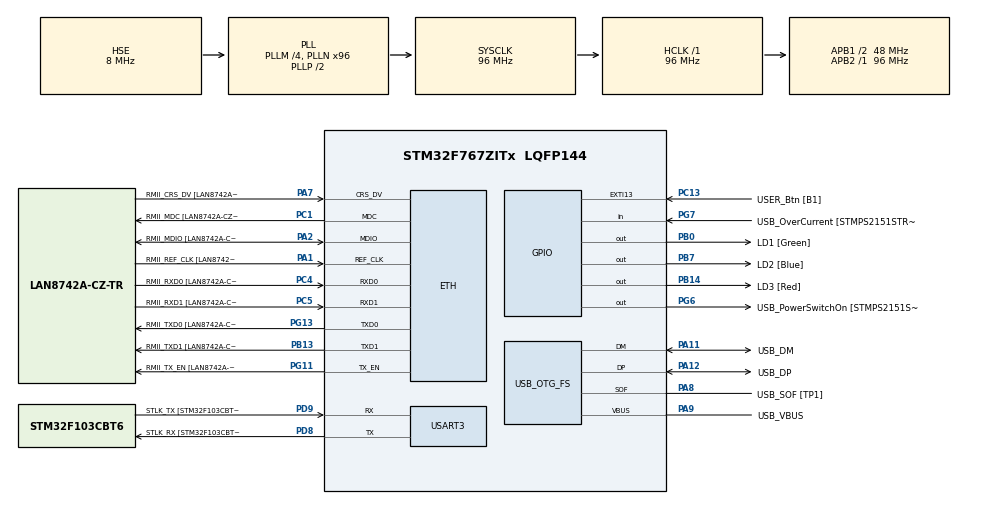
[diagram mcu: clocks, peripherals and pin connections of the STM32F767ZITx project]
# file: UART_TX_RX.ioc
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ETH.MediaInterface=HAL_ETH_RMII_MODE
ETH.PHY_Name=LAN8742A_PHY_ADDRESS
ETH.PHY_Value=0
ETH.PhyAddress=0
Mcu.Family=STM32F7
Mcu.Name=STM32F767ZITx
Mcu.Package=LQFP144
NVIC.PriorityGroup=NVIC_PRIORITYGROUP_4
NVIC.USART3_IRQn=true\:0\:0\:false\:false\:true\:true\:true\:true
PA1.GPIO_Label=RMII_REF_CLK [LAN8742A-CZ-TR_REFCLK0]
PA1.Mode=RMII
PA1.Signal=ETH_REF_CLK
PA10.GPIO_Label=USB_ID
PA10.Signal=USB_OTG_FS_ID
PA11.GPIO_Label=USB_DM
PA11.Mode=Device_Only
PA11.Signal=USB_OTG_FS_DM
PA12.GPIO_Label=USB_DP
PA12.Mode=Device_Only
PA12.Signal=USB_OTG_FS_DP
PA13.GPIO_Label=TMS
PA13.Mode=Serial_Wire
PA13.Signal=SYS_JTMS-SWDIO
PA14.GPIO_Label=TCK
PA14.Mode=Serial_Wire
PA14.Signal=SYS_JTCK-SWCLK
PA2.GPIO_Label=RMII_MDIO [LAN8742A-CZ-TR_MDIO]
PA2.Mode=RMII
PA2.Signal=ETH_MDIO
PA7.GPIO_Label=RMII_CRS_DV [LAN8742A-CZ-TR_CRS_DV]
PA7.Mode=RMII
PA7.Signal=ETH_CRS_DV
PA8.GPIO_Label=USB_SOF [TP1]
PA8.Mode=Activate_SOF_FS
PA8.Signal=USB_OTG_FS_SOF
PA9.GPIO_Label=USB_VBUS
PA9.Mode=Activate_VBUS
PA9.Signal=USB_OTG_FS_VBUS
PB0.GPIO_Label=LD1 [Green]
PB0.Signal=GPIO_Output
PB13.GPIO_Label=RMII_TXD1 [LAN8742A-CZ-TR_TXD1]
PB13.Mode=RMII
PB13.Signal=ETH_TXD1
PB14.GPIO_Label=LD3 [Red]
PB14.Signal=GPIO_Output
PB3.GPIO_Label=SWO
PB3.Signal=SYS_JTDO-SWO
PB7.GPIO_Label=LD2 [Blue]
PB7.Signal=GPIO_Output
PC1.GPIO_Label=RMII_MDC [LAN8742A-CZ-TR_MDC]
PC1.Mode=RMII
PC1.Signal=ETH_MDC
PC13.GPIO_Label=USER_Btn [B1]
PC13.Signal=GPXTI13
PC14/OSC32_IN.Mode=LSE-External-Oscillator
PC14/OSC32_IN.Signal=RCC_OSC32_IN
PC15/OSC32_OUT.Mode=LSE-External-Oscillator
PC15/OSC32_OUT.Signal=RCC_OSC32_OUT
PC4.GPIO_Label=RMII_RXD0 [LAN8742A-CZ-TR_RXD0]
PC4.Mode=RMII
PC4.Signal=ETH_RXD0
PC5.GPIO_Label=RMII_RXD1 [LAN8742A-CZ-TR_RXD1]
PC5.Mode=RMII
PC5.Signal=ETH_RXD1
PD8.GPIO_Label=STLK_RX [STM32F103CBT6_PA3]
PD8.Mode=Asynchronous
PD8.Signal=USART3_TX
PD9.GPIO_Label=STLK_TX [STM32F103CBT6_PA2]
PD9.Mode=Asynchronous
PD9.Signal=USART3_RX
PG11.GPIO_Label=RMII_TX_EN [LAN8742A-CZ-TR_TXEN]
PG11.Mode=RMII
PG11.Signal=ETH_TX_EN
PG13.GPIO_Label=RMII_TXD0 [LAN8742A-CZ-TR_TXD0]
PG13.Mode=RMII
PG13.Signal=ETH_TXD0
PG6.GPIO_Label=USB_PowerSwitchOn [STMPS2151STR_EN]
PG6.Signal=GPIO_Output
PG7.GPIO_Label=USB_OverCurrent [STMPS2151STR_FAULT]
PG7.Signal=GPIO_Input
PH0/OSC_IN.GPIO_Label=MCO [STM32F103CBT6_PA8]
PH0/OSC_IN.Mode=HSE-External-Clock-Source
PH0/OSC_IN.Signal=RCC_OSC_IN
PH1/OSC_OUT.Mode=HSE-External-Clock-Source
PH1/OSC_OUT.Signal=RCC_OSC_OUT
ProjectManager.HeapSize=0x200
ProjectManager.StackSize=0x400
ProjectManager.TargetToolchain=STM32CubeIDE
RCC.48MHZClocksFreq_Value=24000000
RCC.AHBFreq_Value=96000000
RCC.APB1CLKDivider=RCC_HCLK_DIV2
RCC.APB1Freq_Value=48000000
RCC.APB1TimFreq_Value=96000000
RCC.APB2Freq_Value=96000000
RCC.APB2TimFreq_Value=96000000
RCC.CortexFreq_Value=96000000
RCC.HCLKFreq_Value=96000000
RCC.HSE_VALUE=8000000
RCC.HSI_VALUE=16000000
RCC.PLLM=4
RCC.PLLMUL=RCC_PLL_MUL9
RCC.PLLN=96
RCC.PLLQ=4
RCC.PRESCALERUSB=RCC_USBCLKSOURCE_PLL_DIV1_5
RCC.SYSCLKFreq_VALUE=96000000
RCC.SYSCLKSource=RCC_SYSCLKSOURCE_PLLCLK
RCC.SYSCLKSourceVirtual=RCC_SYSCLKSOURCE_PLLCLK
RCC.USBFreq_Value=48000000
RCC.VCOOutputFreq_Value=192000000
USART3.VirtualMode-Asynchronous=VM_ASYNC
USB_OTG_FS.VirtualMode=Device_Only
board=NUCLEO-F767ZI

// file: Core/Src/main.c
/* USER CODE BEGIN Header */
/**
 ******************************************************************************
 * @file           : main.c
 * @brief          : Main program body
 ******************************************************************************
 * @attention
 *
 * Copyright (c) 2025 STMicroelectronics.
 * All rights reserved.
 *
 * This software is licensed under terms that can be found in the LICENSE file
 * in the root directory of this software component.
 * If no LICENSE file comes with this software, it is provided AS-IS.
 *
 ******************************************************************************
 */
/* USER CODE END Header */
#include "main.h"
#include "string.h"

/* USER CODE BEGIN Includes */
#include "flash_store_data.h"
#include "stdio.h"
#include "stm32f7xx_it.h"

/* USER CODE END Includes */

/* USER CODE BEGIN PD */

/* MCU Used : STM32 F767ZI */

#define FLASH_USER_START_ADDR   ADDR_FLASH_SECTOR_2   /* Start @ of user Flash area */

#define BUFFER_SIZE            1012         // Adjust size as needed, for the given string the buffer is 1012.

char rxBuffer[BUFFER_SIZE];

// Buffer to read back data
char readBuffer[BUFFER_SIZE];
uint8_t rxIndex = 0;
uint8_t dataReceived = 0;

//Global variables for Data rate measurements
volatile uint32_t ByteRxCount = 0;
volatile uint32_t ByteTxCount = 0;
uint32_t startTime = 0;
uint32_t elapsedTime = 0;

// Static variables to track flash writing
static uint32_t flashAddress = FLASH_USER_START_ADDR;
static uint32_t wordBuffer = 0;
static uint8_t byteCount = 0;

/* USER CODE END PD */

#if defined ( __ICCARM__ ) /*!< IAR Compiler */
#pragma location=0x2007c000
ETH_DMADescTypeDef  DMARxDscrTab[ETH_RX_DESC_CNT]; /* Ethernet Rx DMA Descriptors */
#pragma location=0x2007c0a0
ETH_DMADescTypeDef  DMATxDscrTab[ETH_TX_DESC_CNT]; /* Ethernet Tx DMA Descriptors */

#elif defined ( __CC_ARM )  /* MDK ARM Compiler */

__attribute__((at(0x2007c000))) ETH_DMADescTypeDef  DMARxDscrTab[ETH_RX_DESC_CNT]; /* Ethernet Rx DMA Descriptors */
__attribute__((at(0x2007c0a0))) ETH_DMADescTypeDef  DMATxDscrTab[ETH_TX_DESC_CNT]; /* Ethernet Tx DMA Descriptors */

#elif defined ( __GNUC__ ) /* GNU Compiler */

ETH_DMADescTypeDef DMARxDscrTab[ETH_RX_DESC_CNT] __attribute__((section(".RxDecripSection"))); /* Ethernet Rx DMA Descriptors */
ETH_DMADescTypeDef DMATxDscrTab[ETH_TX_DESC_CNT] __attribute__((section(".TxDecripSection")));   /* Ethernet Tx DMA Descriptors */
#endif

ETH_TxPacketConfig TxConfig;

ETH_HandleTypeDef heth;

UART_HandleTypeDef huart3;

PCD_HandleTypeDef hpcd_USB_OTG_FS;

void SystemClock_Config(void);
static void MX_GPIO_Init(void);
static void MX_ETH_Init(void);
static void MX_USART3_UART_Init(void);
static void MX_USB_OTG_FS_PCD_Init(void);
/* USER CODE BEGIN PFP */

void CalculateDataRate(void);
void ReadFlashAndSendData(void);

/* USER CODE END PFP */

int main(void)
{

	/* MCU Configuration--------------------------------------------------------*/

	/* Reset of all peripherals, Initializes the Flash interface and the Systick. */
	HAL_Init();

	/* Configure the system clock */
	SystemClock_Config();

	/* Initialize all configured peripherals */
	MX_GPIO_Init();
	MX_ETH_Init();
	MX_USART3_UART_Init();
	MX_USB_OTG_FS_PCD_Init();
	/* USER CODE BEGIN 2 */

	// Erase the required Sector
	Flash_Erase(FLASH_USER_START_ADDR);

	// Start receiving UART data in interrupt mode
	HAL_UART_Receive_IT(&huart3, (uint8_t*)&rxBuffer[rxIndex], 1);

	/* USER CODE END 2 */

	/* Infinite loop */
	while (1)
	{

		/* USER CODE BEGIN 3 */

		CalculateDataRate();

		ReadFlashAndSendData();

		/* USER CODE END 3 */
	}
}

void SystemClock_Config(void)
{
	RCC_OscInitTypeDef RCC_OscInitStruct = {0};
	RCC_ClkInitTypeDef RCC_ClkInitStruct = {0};

	/** Configure LSE Drive Capability
	 */
	HAL_PWR_EnableBkUpAccess();

	/** Configure the main internal regulator output voltage
	 */
	__HAL_RCC_PWR_CLK_ENABLE();
	__HAL_PWR_VOLTAGESCALING_CONFIG(PWR_REGULATOR_VOLTAGE_SCALE3);

	/** Initializes the RCC Oscillators according to the specified parameters
	 * in the RCC_OscInitTypeDef structure.
	 */
	RCC_OscInitStruct.OscillatorType = RCC_OSCILLATORTYPE_HSE;
	RCC_OscInitStruct.HSEState = RCC_HSE_BYPASS;
	RCC_OscInitStruct.PLL.PLLState = RCC_PLL_ON;
	RCC_OscInitStruct.PLL.PLLSource = RCC_PLLSOURCE_HSE;
	RCC_OscInitStruct.PLL.PLLM = 4;
	RCC_OscInitStruct.PLL.PLLN = 96;
	RCC_OscInitStruct.PLL.PLLP = RCC_PLLP_DIV2;
	RCC_OscInitStruct.PLL.PLLQ = 4;
	RCC_OscInitStruct.PLL.PLLR = 2;
	if (HAL_RCC_OscConfig(&RCC_OscInitStruct) != HAL_OK)
	{
		Error_Handler();
	}

	/** Activate the Over-Drive mode
	 */
	if (HAL_PWREx_EnableOverDrive() != HAL_OK)
	{
		Error_Handler();
	}

	/** Initializes the CPU, AHB and APB buses clocks
	 */
	RCC_ClkInitStruct.ClockType = RCC_CLOCKTYPE_HCLK|RCC_CLOCKTYPE_SYSCLK
			|RCC_CLOCKTYPE_PCLK1|RCC_CLOCKTYPE_PCLK2;
	RCC_ClkInitStruct.SYSCLKSource = RCC_SYSCLKSOURCE_PLLCLK;
	RCC_ClkInitStruct.AHBCLKDivider = RCC_SYSCLK_DIV1;
	RCC_ClkInitStruct.APB1CLKDivider = RCC_HCLK_DIV2;
	RCC_ClkInitStruct.APB2CLKDivider = RCC_HCLK_DIV1;

	if (HAL_RCC_ClockConfig(&RCC_ClkInitStruct, FLASH_LATENCY_3) != HAL_OK)
	{
		Error_Handler();
	}
}

static void MX_ETH_Init(void)
{

	static uint8_t MACAddr[6];

	heth.Instance = ETH;
	MACAddr[0] = 0x00;
	MACAddr[1] = 0x80;
	MACAddr[2] = 0xE1;
	MACAddr[3] = 0x00;
	MACAddr[4] = 0x00;
	MACAddr[5] = 0x00;
	heth.Init.MACAddr = &MACAddr[0];
	heth.Init.MediaInterface = HAL_ETH_RMII_MODE;
	heth.Init.TxDesc = DMATxDscrTab;
	heth.Init.RxDesc = DMARxDscrTab;
	heth.Init.RxBuffLen = 1524;

	if (HAL_ETH_Init(&heth) != HAL_OK)
	{
		Error_Handler();
	}

	memset(&TxConfig, 0 , sizeof(ETH_TxPacketConfig));
	TxConfig.Attributes = ETH_TX_PACKETS_FEATURES_CSUM | ETH_TX_PACKETS_FEATURES_CRCPAD;
	TxConfig.ChecksumCtrl = ETH_CHECKSUM_IPHDR_PAYLOAD_INSERT_PHDR_CALC;
	TxConfig.CRCPadCtrl = ETH_CRC_PAD_INSERT;

}

static void MX_USART3_UART_Init(void)
{

	huart3.Instance = USART3;
	huart3.Init.BaudRate = 2400;
	huart3.Init.WordLength = UART_WORDLENGTH_8B;
	huart3.Init.StopBits = UART_STOPBITS_1;
	huart3.Init.Parity = UART_PARITY_NONE;
	huart3.Init.Mode = UART_MODE_TX_RX;
	huart3.Init.HwFlowCtl = UART_HWCONTROL_NONE;
	huart3.Init.OverSampling = UART_OVERSAMPLING_16;
	huart3.Init.OneBitSampling = UART_ONE_BIT_SAMPLE_DISABLE;
	huart3.AdvancedInit.AdvFeatureInit = UART_ADVFEATURE_NO_INIT;
	if (HAL_UART_Init(&huart3) != HAL_OK)
	{
		Error_Handler();
	}

}

static void MX_USB_OTG_FS_PCD_Init(void)
{

	hpcd_USB_OTG_FS.Instance = USB_OTG_FS;
	hpcd_USB_OTG_FS.Init.dev_endpoints = 6;
	hpcd_USB_OTG_FS.Init.speed = PCD_SPEED_FULL;
	hpcd_USB_OTG_FS.Init.dma_enable = DISABLE;
	hpcd_USB_OTG_FS.Init.phy_itface = PCD_PHY_EMBEDDED;
	hpcd_USB_OTG_FS.Init.Sof_enable = ENABLE;
	hpcd_USB_OTG_FS.Init.low_power_enable = DISABLE;
	hpcd_USB_OTG_FS.Init.lpm_enable = DISABLE;
	hpcd_USB_OTG_FS.Init.vbus_sensing_enable = ENABLE;
	hpcd_USB_OTG_FS.Init.use_dedicated_ep1 = DISABLE;
	if (HAL_PCD_Init(&hpcd_USB_OTG_FS) != HAL_OK)
	{
		Error_Handler();
	}

}

static void MX_GPIO_Init(void)
{
	GPIO_InitTypeDef GPIO_InitStruct = {0};

	/* GPIO Ports Clock Enable */
	__HAL_RCC_GPIOC_CLK_ENABLE();
	__HAL_RCC_GPIOH_CLK_ENABLE();
	__HAL_RCC_GPIOA_CLK_ENABLE();
	__HAL_RCC_GPIOB_CLK_ENABLE();
	__HAL_RCC_GPIOD_CLK_ENABLE();
	__HAL_RCC_GPIOG_CLK_ENABLE();

	/*Configure GPIO pin Output Level */
	HAL_GPIO_WritePin(GPIOB, LD1_Pin|LD3_Pin|LD2_Pin, GPIO_PIN_RESET);

	/*Configure GPIO pin Output Level */
	HAL_GPIO_WritePin(USB_PowerSwitchOn_GPIO_Port, USB_PowerSwitchOn_Pin, GPIO_PIN_RESET);

	/*Configure GPIO pin : USER_Btn_Pin */
	GPIO_InitStruct.Pin = USER_Btn_Pin;
	GPIO_InitStruct.Mode = GPIO_MODE_IT_RISING;
	GPIO_InitStruct.Pull = GPIO_NOPULL;
	HAL_GPIO_Init(USER_Btn_GPIO_Port, &GPIO_InitStruct);

	/*Configure GPIO pins : LD1_Pin LD3_Pin LD2_Pin */
	GPIO_InitStruct.Pin = LD1_Pin|LD3_Pin|LD2_Pin;
	GPIO_InitStruct.Mode = GPIO_MODE_OUTPUT_PP;
	GPIO_InitStruct.Pull = GPIO_NOPULL;
	GPIO_InitStruct.Speed = GPIO_SPEED_FREQ_LOW;
	HAL_GPIO_Init(GPIOB, &GPIO_InitStruct);

	/*Configure GPIO pin : USB_PowerSwitchOn_Pin */
	GPIO_InitStruct.Pin = USB_PowerSwitchOn_Pin;
	GPIO_InitStruct.Mode = GPIO_MODE_OUTPUT_PP;
	GPIO_InitStruct.Pull = GPIO_NOPULL;
	GPIO_InitStruct.Speed = GPIO_SPEED_FREQ_LOW;
	HAL_GPIO_Init(USB_PowerSwitchOn_GPIO_Port, &GPIO_InitStruct);

	/*Configure GPIO pin : USB_OverCurrent_Pin */
	GPIO_InitStruct.Pin = USB_OverCurrent_Pin;
	GPIO_InitStruct.Mode = GPIO_MODE_INPUT;
	GPIO_InitStruct.Pull = GPIO_NOPULL;
	HAL_GPIO_Init(USB_OverCurrent_GPIO_Port, &GPIO_InitStruct);

}

/* USER CODE BEGIN 4 */

void HAL_UART_RxCpltCallback(UART_HandleTypeDef *huart) {

	if (huart->Instance == USART3) {  // Check if it's USART3
		ByteRxCount++;  // Increment for each received byte

		// Check for end of transmission
		if (rxBuffer[rxIndex] == '\r') {  // End character detected
			dataReceived = 1;
			// Write the remaining bytes also to the flash ( less than 4 bytes)
			HAL_FLASH_Unlock();
			HAL_FLASH_Program(FLASH_TYPEPROGRAM_WORD, flashAddress, wordBuffer);
			HAL_FLASH_Lock();
		} else {
			// Accumulate bytes to form a 32-bit word
			wordBuffer |= (rxBuffer[rxIndex] << (byteCount * 8));
			byteCount++;

			if (byteCount == 4)  // If 4 bytes are accumulated
			{
				// Write 32-bit word to flash
				HAL_FLASH_Unlock();
				HAL_FLASH_Program(FLASH_TYPEPROGRAM_WORD, flashAddress, wordBuffer);
				HAL_FLASH_Lock();

				flashAddress += 4;  // Move to the next flash address (4*8 = 32 bit)
				byteCount = 0;
				wordBuffer = 0;
			}
		}

		// Reset index and re-enable UART interrupt
		if (++rxIndex >= BUFFER_SIZE)
			rxIndex = 0;

		HAL_UART_Receive_IT(&huart3, (uint8_t *)&rxBuffer[rxIndex], 1);
	}
}

void CalculateDataRate(void)
{
	elapsedTime = HAL_GetTick() - startTime;  // Time elapsed in ms

	if (elapsedTime >= 1000) {  // Every 1 second
		// Calculate RX Speed
		uint32_t RxBitsTransferred = ByteRxCount * 8;
		uint32_t RxBps = RxBitsTransferred * 1000 / elapsedTime;
		printf("RX Data Rate: %lu bps\n", RxBps);

		// Calculate TX Speed
		uint32_t TxBitsTransferred = ByteTxCount * 8;
		uint32_t TxBps = TxBitsTransferred * 1000 / elapsedTime;
		printf("TX Data Rate: %lu bps\n", TxBps);

		// Reset counters for the next interval
		ByteRxCount = 0;
		ByteTxCount = 0;
		startTime = HAL_GetTick();
	}
}

void ReadFlashAndSendData (void)
{
	if (dataReceived) {
		printf("Reading back from Flash...\n");

		// Reset Flash address for reading
		uint32_t readAddress = FLASH_USER_START_ADDR;

		// Read data from Flash until null character or max buffer size
		for (int i = 0; i < BUFFER_SIZE - 1; i++) {
			readBuffer[i] = *(char *)readAddress;
			readAddress++;

			// Stop if null character is encountered
			if (readBuffer[i] == '\0') {
				break;
			}
		}

		// Null-terminate the read string
		readBuffer[BUFFER_SIZE - 1] = '\0';

		// Send the read data back to PC
		printf("Sending back data to PC...\n");
		HAL_UART_Transmit(&huart3, (uint8_t *)readBuffer, strlen(readBuffer), HAL_MAX_DELAY);
		ByteTxCount += strlen(readBuffer);  // Increment TX count by the number of bytes transmitted

		// Reset for the next transmission
		dataReceived = 0;
		flashAddress = FLASH_USER_START_ADDR;  // Reset flash address for next write
		byteCount = 0;
		wordBuffer = 0;
		rxIndex = 0;
		memset(rxBuffer, 0, sizeof(rxBuffer));
		memset(readBuffer, 0, sizeof(readBuffer));

	}
}

/* USER CODE END 4 */

void Error_Handler(void)
{
	__disable_irq();
	while (1)
	{
	}
}
